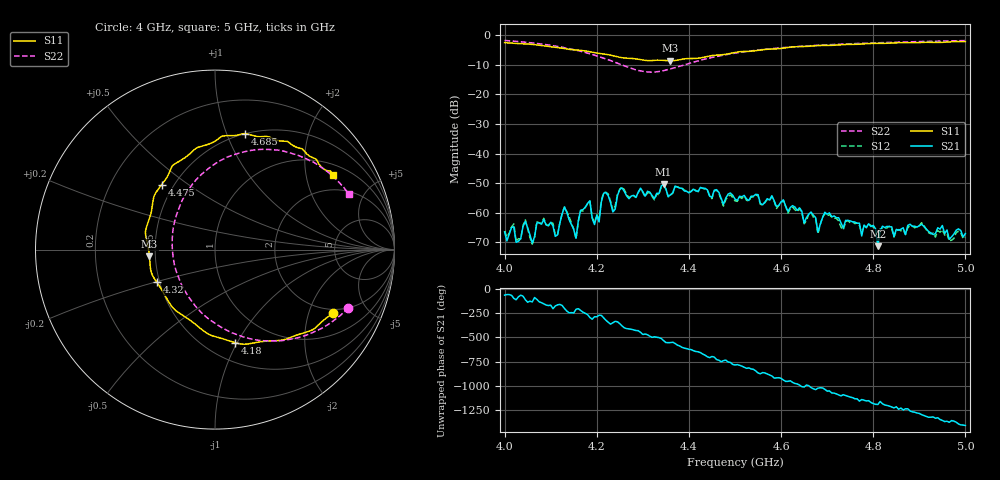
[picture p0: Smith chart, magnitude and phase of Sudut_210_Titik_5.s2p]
# Hz S RI R 50
! CMT, C1220, 16058040, 17.2.0/1
! Date: 15/08/2018 12:22:04
! Data: Format (Calibration Info)
! Freq  S11: Re/Im (F2)  S21: Re/Im (F2)  S12: Re/Im (F2)  S22: Re/Im (F2)
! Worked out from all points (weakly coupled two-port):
!   201 points, 4 GHz to 5 GHz, reference 50 ohm
!   highest |S21| = -50.40 dB at 4.345 GHz (marker M1); lowest = -71.3 dB at 4.81 GHz (marker M2)
!   lowest |S11| = -8.7 dB at 4.36 GHz (marker M3), VSWR 2.16, Z = 23.2 - j2 ohm
!   |S11| at or under -10 dB: nowhere
!   |S22| runs from -12.5 to -1.8 dB; largest |S21 - S12| = 0.00021
!   S11 on the Smith chart (normalised r, x): 4 GHz: 1.81, -2.90; 4.18 GHz: 0.68, -0.98; 4.32 GHz: 0.48, -0.20; 4.475 GHz: 0.43, +0.40; 4.685 GHz: 0.50, +1.16; 5 GHz: 1.38, +2.86
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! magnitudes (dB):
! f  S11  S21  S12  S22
! 4 GHz  -2.6  -66.4  -66.2  -1.8
! 4.11 GHz  -4.1  -68.0  -67.6  -3.7
! 4.13 GHz  -4.6  -58.1  -58.0  -4.3
! 4.155 GHz  -5.0  -68.6  -68.8  -5.1
! 4.17 GHz  -5.3  -58.9  -59.4  -5.7
! 4.18 GHz  -5.5  -56.9  -57.0  -6.1
! 4.195 GHz  -5.9  -64.0  -63.6  -6.8
! 4.215 GHz  -6.4  -53.4  -53.2  -7.8
! 4.235 GHz  -7.0  -59.7  -59.1  -8.9
! 4.255 GHz  -7.7  -51.6  -51.3  -10.1
! 4.32 GHz  -8.6  -54.2  -54.5  -12.5
! 4.335 GHz  -8.5  -53.5  -53.9  -12.3
! 4.345 GHz  -8.6  -50.4  -50.8  -12.0
! 4.36 GHz  -8.7  -53.9  -54.1  -11.4
! 4.475 GHz  -6.6  -57.1  -57.7  -6.8
! 4.5 GHz  -5.9  -55.4  -56.0  -6.1
! 4.67 GHz  -3.7  -60.8  -61.5  -3.5
! 4.685 GHz  -3.5  -63.9  -64.0  -3.4
! 4.8 GHz  -2.8  -64.2  -64.9  -2.6
! 4.81 GHz  -2.8  -71.3  -70.2  -2.6
! 4.835 GHz  -2.7  -64.7  -64.5  -2.5
! 5 GHz  -2.2  -67.0  -68.3  -1.9
